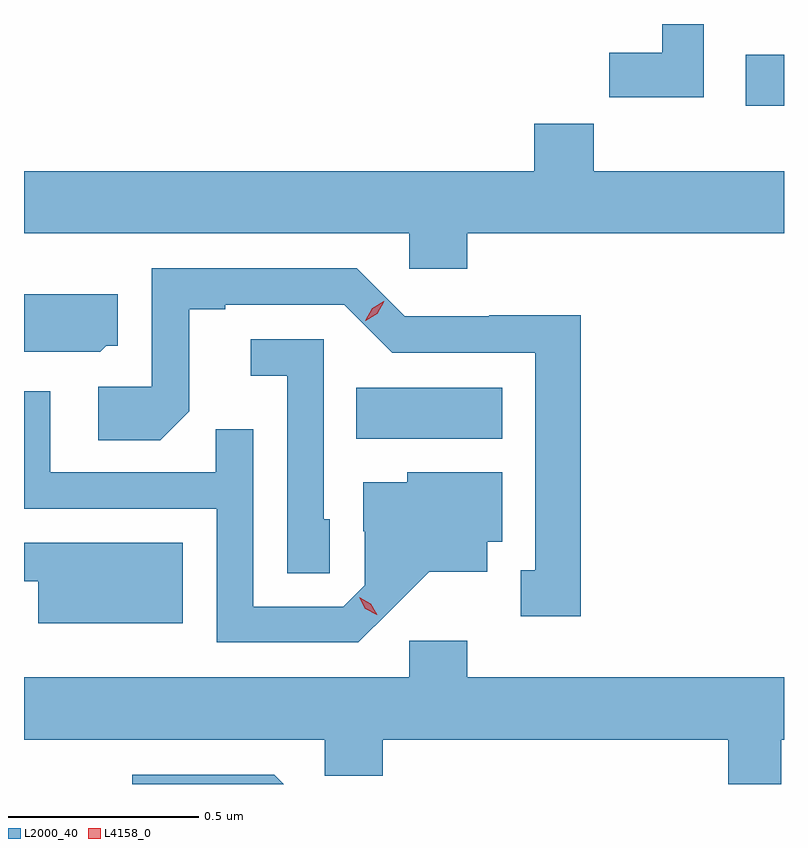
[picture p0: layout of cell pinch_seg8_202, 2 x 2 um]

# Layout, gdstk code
import gdstk
lib = gdstk.Library(unit=1e-6, precision=1e-09)
def R(c, l, rs):  # rectangles x0, y0, x1, y1
    for r in rs: c.add(gdstk.rectangle(r[:2], r[2:], *l))
def P(c, l, *ps):  # polygons
    for p in ps: c.add(gdstk.Polygon(p, *l))
L2000_40 = (2000, 40)
L4158_0 = (4158, 0)

pinch_seg8_202 = lib.new_cell('pinch_seg8_202')
R(pinch_seg8_202, L2000_40, [(628.432,1162.58,628.816,1162.714), (629.457,1163.456,629.558,1163.59)])
P(pinch_seg8_202, L2000_40, [(629.347,1163.671),(629.237,1163.671),(629.237,1163.596),(629.098,1163.596),(629.098,1163.478),(629.347,1163.478)],
  [(628.724,1163.12),(629.558,1163.12),(629.558,1163.284),(629.057,1163.284),(629.057,1163.408),(628.901,1163.408),(628.901,1163.284),(627.558,1163.284),(627.558,1163.12),(628.572,1163.12),(628.572,1163.027),(628.724,1163.027)],
  [(629.023,1162.904),(628.782,1162.904),(628.782,1162.902),(628.56,1162.902),(628.434,1163.028),(627.894,1163.028),(627.894,1162.716),(627.753,1162.716),(627.753,1162.576),(627.917,1162.576),(627.993,1162.652),(627.993,1162.92),(628.087,1162.92),(628.087,1162.932),(628.401,1162.932),(628.527,1162.806),(628.904,1162.806),(628.904,1162.233),(628.865,1162.233),(628.865,1162.113),(629.023,1162.113)],
  [(627.774,1162.824),(627.805,1162.824),(627.805,1162.96),(627.558,1162.96),(627.558,1162.809),(627.624,1162.809),(627.624,1162.808),(627.758,1162.808)],
  [(628.362,1162.368),(628.347,1162.368),(628.347,1162.842),(628.155,1162.842),(628.155,1162.745),(628.251,1162.745),(628.251,1162.225),(628.362,1162.225)],
  [(628.522,1162.127),(628.625,1162.229),(628.777,1162.229),(628.777,1162.308),(628.816,1162.308),(628.816,1162.492),(628.566,1162.492),(628.566,1162.465),(628.451,1162.465),(628.451,1162.336),(628.455,1162.336),(628.455,1162.194),(628.398,1162.137),(628.161,1162.137),(628.161,1162.604),(628.063,1162.604),(628.063,1162.491),(627.627,1162.491),(627.627,1162.705),(627.558,1162.705),(627.558,1162.395),(628.065,1162.395),(628.065,1162.044),(628.438,1162.044)],
  [(627.976,1162.306),(627.558,1162.306),(627.558,1162.205),(627.596,1162.205),(627.596,1162.094),(627.976,1162.094)],
  [(629.551,1161.788),(629.558,1161.788),(629.558,1161.952),(628.724,1161.952),(628.724,1162.048),(628.572,1162.048),(628.572,1161.952),(627.558,1161.952),(627.558,1161.788),(628.35,1161.788),(628.35,1161.693),(628.502,1161.693),(628.502,1161.788),(629.411,1161.788),(629.411,1161.671),(629.551,1161.671)],
  [(628.216,1161.696),(627.843,1161.696),(627.843,1161.671),(628.241,1161.671)])
P(pinch_seg8_202, L4158_0, [(628.456,1162.89),(628.456,1162.89),(628.474,1162.923),(628.505,1162.942),(628.506,1162.942),(628.506,1162.942),(628.488,1162.909),(628.457,1162.89)],
  [(628.486,1162.116),(628.456,1162.132),(628.44,1162.162),(628.44,1162.162),(628.44,1162.162),(628.47,1162.146),(628.487,1162.117),(628.487,1162.116)])

lib.write_gds('pinch_seg8_202.gds')
